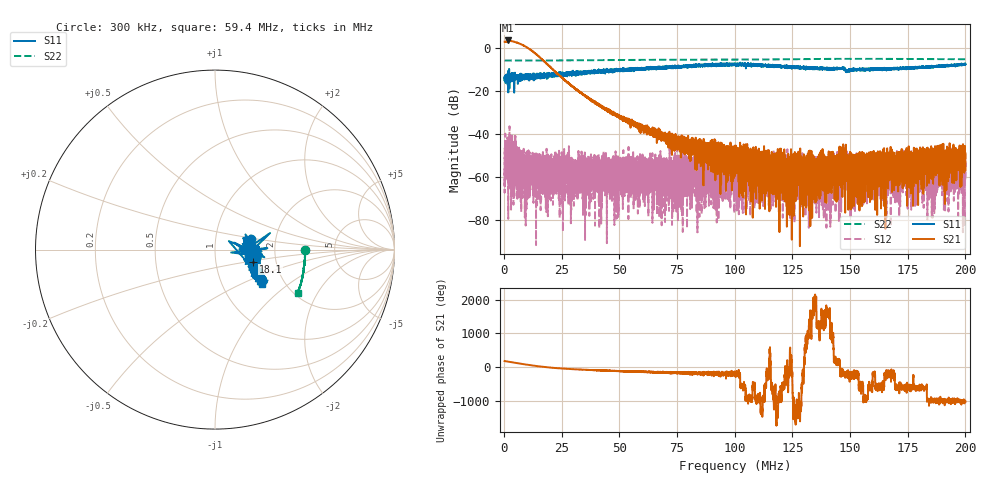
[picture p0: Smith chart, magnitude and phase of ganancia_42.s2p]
# Hz S DB R 50
! CMT, M5065, 19127446, 24.2.4/2
! Date: 11/8/2024 6:43:21 PM
! Data: Format (Calibration Info)
! Freq	S11:dB/Ang(F2)	S21:dB/Ang(F2)	S12:dB/Ang(F2)	S22:dB/Ang(F2)
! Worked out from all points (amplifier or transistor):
!   9000 points, 300 kHz to 200 MHz, reference 50 ohm
!   highest |S21| = 3.3 dB at 1.631 MHz (marker M1)
!   |S21| within 3 dB of that: start of sweep to 9.666 MHz
!   unconditionally stable (mu >= 1): start of sweep to end of sweep
!   at 33.59 MHz: K = 1275.04, MAG = -19.6 dB, |S12| = -50.1 dB
!   at 100.2 MHz: K = 52166.06, MAG = -43.9 dB, |S12| = -58.6 dB
!   at 200 MHz: K = 75120.90, MAG = -54.4 dB, |S12| = -51.5 dB
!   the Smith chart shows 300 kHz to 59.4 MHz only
!   S11 on the Smith chart (normalised r, x): 300 kHz: 1.49, +0.18; 18.1 MHz: 1.52, -0.21; 59.4 MHz: 1.53, -0.65
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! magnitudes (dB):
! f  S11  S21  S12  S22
! 300 kHz  -13.6  2.7  -56.1  -6.0
! 1.631 MHz  -13.0  3.3  -44.8  -6.0
! 9.598 MHz  -14.4  0.3  -61.9  -6.0
! 18.1 MHz  -13.1  -7.0  -54.4  -5.9
! 33.59 MHz  -11.6  -21.2  -50.1  -5.9
! 59.4 MHz  -9.9  -37.2  -60.2  -5.7
! 66.87 MHz  -9.3  -42.0  -61.4  -5.7
! 100.2 MHz  -8.2  -46.0  -58.6  -5.6
! 104.8 MHz  -7.6  -44.8  -58.3  -5.5
! 109 MHz  -7.8  -50.0  -54.8  -5.5
! 118.7 MHz  -8.5  -46.9  -56.6  -5.4
! 122.4 MHz  -8.6  -54.6  -57.3  -5.4
! 124.5 MHz  -9.2  -57.2  -53.4  -5.4
! 126.9 MHz  -8.9  -54.8  -56.1  -5.4
! 128.9 MHz  -9.6  -62.1  -71.4  -5.3
! 133.4 MHz  -9.4  -53.8  -55.1  -5.3
! 144.7 MHz  -9.7  -57.8  -56.3  -5.2
! 147.3 MHz  -9.5  -52.0  -48.9  -5.2
! 150 MHz  -10.5  -74.2  -62.0  -5.2
! 166.7 MHz  -9.6  -52.5  -57.7  -5.2
! 196.9 MHz  -8.2  -48.0  -78.0  -5.4
! 200 MHz  -7.6  -56.7  -51.5  -5.4
